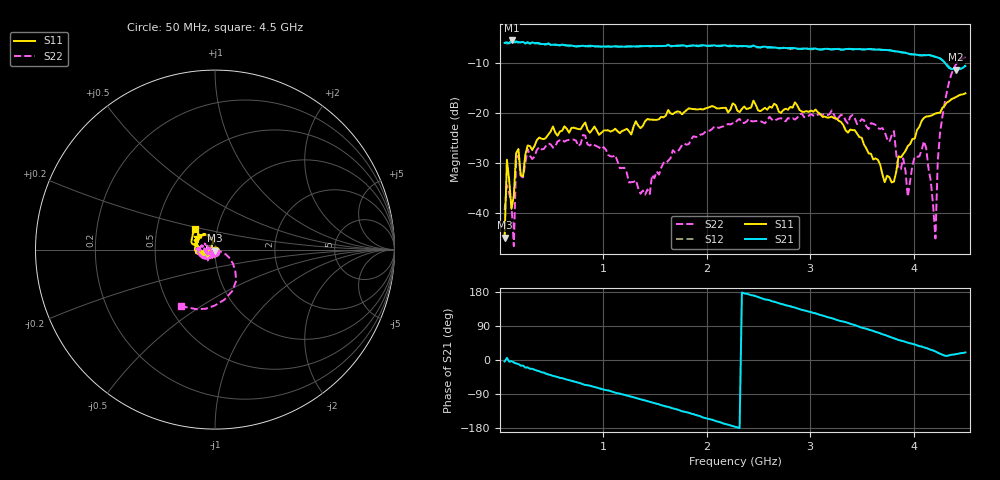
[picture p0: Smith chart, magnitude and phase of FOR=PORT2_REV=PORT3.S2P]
! Network Analyzer HP8722ES.07.74: Oct 30, 2002 Serial No. US39175660
! Hewlett-Packard
! 30 May 2012  17:00:43
! Frequency  S11  S21  S12  S22
# HZ  S  DB R  50
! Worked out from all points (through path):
!   201 points, 50 MHz to 4.5 GHz, reference 50 ohm
!   highest |S21| = -5.40 dB at 116.8 MHz (marker M1); lowest = -11.2 dB at 4.411 GHz (marker M2)
!   group delay of S21, straight-line fit = 221 ps
!   lowest |S11| = -44.9 dB at 50 MHz (marker M3), VSWR 1.01, Z = 49.8 - j0.511 ohm
!   |S11| at or under -10 dB: start of sweep to end of sweep
!   |S22| runs from -46.6 to -8.7 dB; largest |S21 - S12| = 0.021
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5e7  -44.89 -115.5  -5.87 -4.0  -5.85 -3.7  -39.34 -90.7
7.225e7  -29.28 -59.9  -5.78 5.6  -6.01 3.8  -34.36 -86.9
1.1675e8  -39.12 175.9  -5.40 -2.9  -5.68 -3.9  -38.33 127.1
1.39e8  -36.51 -120.7  -5.76 -6.5  -5.87 -7.8  -46.58 -149.5
1.6125e8  -27.93 -90.2  -5.59 -9.2  -5.75 -10.4  -29.48 -87.8
1.835e8  -27.13 -93.0  -5.75 -10.6  -5.82 -12.1  -28.41 -97.7
2.28e8  -32.60 -144.6  -5.70 -14.8  -5.82 -16.0  -32.82 -109.8
2.725e8  -26.44 -109.2  -5.74 -19.5  -5.86 -19.9  -27.14 -110.5
8.065e8  -22.42 -161.7  -6.46 -64.0  -6.50 -64.4  -24.32 -179.0
1.36275e9  -22.96 -166.7  -6.54 -103.6  -6.58 -103.6  -36.06 -156.8
1.54075e9  -21.16 -165.8  -6.50 -116.9  -6.52 -117.6  -32.26 -124.4
2.275e9  -18.29 153.5  -6.46 -176.0  -6.68 -176.6  -21.99 -143.2
3.0315e9  -19.65 124.7  -7.04 124.2  -7.16 124.5  -20.43 -169.3
3.76575e9  -32.77 159.8  -7.34 61.4  -7.39 61.2  -25.70 153.5
3.89925e9  -28.16 -170.8  -7.78 49.7  -7.86 50.2  -29.00 168.1
3.94375e9  -26.55 -156.9  -8.01 45.7  -7.99 45.8  -36.67 -158.2
4.0995e9  -20.92 169.8  -8.37 33.2  -8.34 33.4  -25.58 -150.2
4.21075e9  -20.03 166.5  -8.69 22.7  -8.68 22.7  -45.04 -54.6
4.233e9  -19.91 168.8  -8.82 19.1  -8.74 19.3  -29.56 -20.0
4.25525e9  -19.88 168.1  -8.99 16.6  -8.99 16.5  -23.91 -23.3
4.411e9  -16.69 148.9  -11.23 15.7  -11.42 15.8  -10.13 -90.2
4.5e9  -16.00 134.1  -10.51 19.9  -10.43 18.1  -8.69 -120.9
